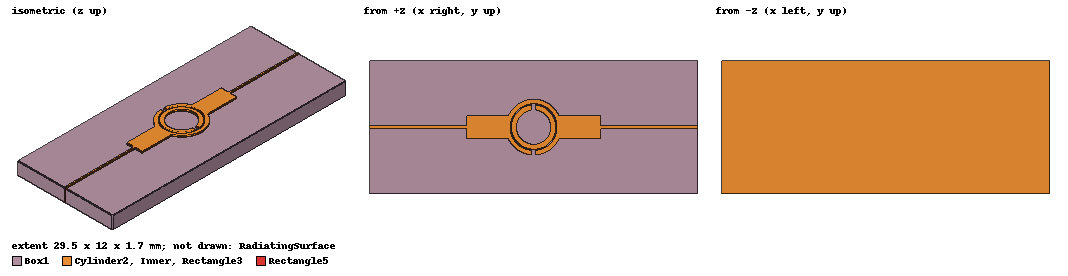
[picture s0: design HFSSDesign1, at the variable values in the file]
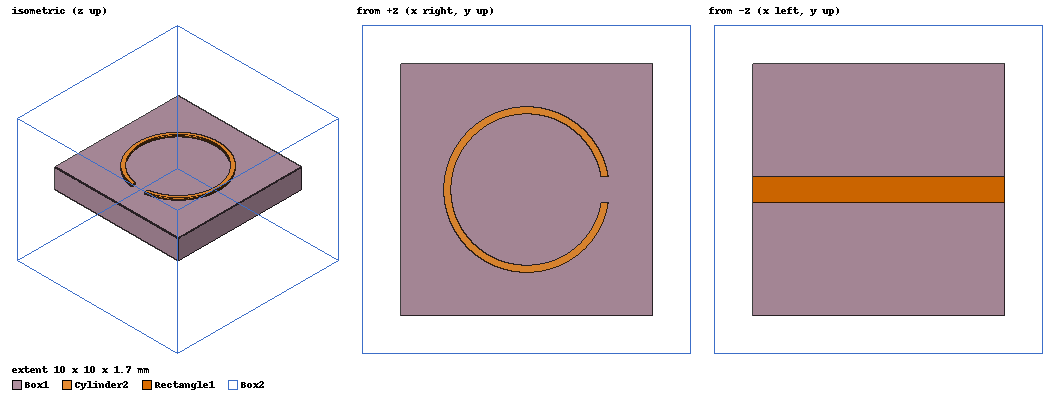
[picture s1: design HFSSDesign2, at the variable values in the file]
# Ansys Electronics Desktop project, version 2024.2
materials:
  vacuum: permittivity=1
  FR4_epoxy: permittivity=4.4 dielectric_loss_tangent=0.02
  copper: permeability=0.999991 conductivity=58000000
  air: permittivity=1.0006 permeability=1.0000004

design HFSSDesign1 (HFSS, HFSS Terminal Network, model units mm)
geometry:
  Box1 [FR4_epoxy] = box(corner=(-8.75mm, 0mm, 0mm), size=(29.5mm, 12mm, 1.6mm))
  Cylinder1 = cylinder(axis=Z, base_centre=(6mm, 6mm, 1.6mm), radius=2.1mm, height=0.1mm)
  Cylinder2 [copper] = cylinder(axis=Z, base_centre=(6mm, 6mm, 1.6mm), radius=2.5mm, height=0.1mm)
  Slit = box(corner=(5.8mm, 1.5mm, 1.6mm), size=(0.4mm, 4mm, 0.1mm))
  Box2 = box(corner=(0mm, 5mm, 1.6mm), size=(12mm, 2mm, 0.1mm))
  Rectangle3 = rectangle(corner=(-8.75mm, 0mm, 0mm), x_size=29.5mm, y_size=12mm)
  Cylinder2.subtract(Cylinder1)
  Box4 = box(corner=(3.9mm, 7mm, 1.6mm), size=(4.2mm, -2mm, 0.2mm))
  Cylinder2.subtract(Slit)
  Box2.subtract(Box4)
  Cylinder2.unite(Box2)
  Inner [copper] = cylinder(axis=Z, base_centre=(6mm, 6mm, 1.6mm), radius=2mm, height=0.1mm)
  Cylinder3 = cylinder(axis=Z, base_centre=(6mm, 6mm, 1.6mm), radius=1.55mm, height=0.1mm)
  Inner.subtract(Cylinder3)
  Box5 = box(corner=(5.8mm, 8mm, 1.6mm), size=(0.4mm, -1.5mm, 0.1mm))
  Inner.subtract(Box5)
  quartwave_1 = box(corner=(0mm, 6.0925mm, 1.6mm), size=(-8.75mm, -0.185mm, 0.1mm))
  quartwave_2 = box(corner=(0mm, 6.0925mm, 1.6mm), size=(-8.75mm, -0.185mm, 0.1mm))
  quartwave_2.move(20.75mm, 0mm, 0mm)
  Rectangle4 = rectangle(corner=(-8.75mm, 6.0925mm, 1.7mm), y_size=-0.185mm, z_size=-1.7mm)
  Rectangle5 = rectangle(corner=(-8.75mm, 6.0925mm, 1.7mm), y_size=-0.185mm, z_size=-1.7mm)
  Rectangle5.move(29.5mm, 0mm, 0mm)
  Cylinder2.unite(quartwave_1, quartwave_2)
  RadiatingSurface [vacuum] = region(absolute_offset=20mm on all sides)
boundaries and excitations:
  PerfE6: Perfect E Objects=Cylinder2
  PerfE7: Perfect E Objects=Inner
  PerfE10: Perfect E Objects=Rectangle3
  Open1: Radiation Objects=RadiatingSurface
  1: Lumped Port Objects=Rectangle4 LumpedPortType=Modal Modes{Mode1{IntLine{(-8.75, 6, 0) -> (-8750mm, 6000mm, 1650mm)} CharImp=Zpi}} Impedance=50ohm
  2: Lumped Port Objects=Rectangle5 LumpedPortType=Modal Modes{Mode1{IntLine{(20.75, 6, 0) -> (20.75, 6, 1.7)} CharImp=Zpi}} Impedance=50ohm
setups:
  Setup1: HfssDriven Frequency=5GHz MaxDeltaS=0.02 MaximumPasses=10 MinimumPasses=1 MinimumConvergedPasses=1 PercentRefinement=30 BasisOrder=1 PortAccuracy=2 DrivenSolverType="Direct Solver"
    sweep Sweep: 1GHz to 10GHz, 401 points; Type=Fast SaveFields
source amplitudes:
  1:1: 1V 0deg
  2:1: 0V 0deg
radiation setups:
  3D: Infinite Sphere Theta=0deg..180deg step 2deg Phi=-180deg..180deg step 2deg
  Elevation: Infinite Sphere Theta=-180deg..180deg step 1deg Phi=0deg..90deg step 90deg
  Azimuth: Infinite Sphere Theta=90deg..90deg step 0deg Phi=-180deg..180deg step 1deg
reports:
  S Parameter Plot 1: dB(S(1,1)), dB(S(2,1)) vs Freq on Setup1 : Sweep; markers m1 at 4.96GHz, m4 at 4.96GHz
  Z Parameter Plot 1: dB20(Z(1,1)), dB20(Z(2,1)) vs Freq on Setup1 : Sweep; markers m1 at 5.005GHz, m2 at 5.005GHz

design HFSSDesign2 (HFSS, HFSS Terminal Network, model units mm)
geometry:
  Box1 [FR4_epoxy] = box(corner=(0mm, 0mm, 0mm), size=(10mm, 10mm, 1.6mm))
  Cylinder2 [copper] = cylinder(axis=Z, base_centre=(5mm, 5mm, 1.6mm), radius=3.281mm, height=0.1mm)
  Slit = box(corner=(7.5mm, 4.5mm, 1.6mm), size=(2mm, 1mm, 0.1mm))
  Cylinder2.subtract(Slit)
  Cylinder1 = cylinder(axis=Z, base_centre=(5mm, 5mm, 1.6mm), radius=3mm, height=0.1mm)
  Rectangle1 = rectangle(corner=(0mm, 4.5mm, 0mm), x_size=10mm, y_size=1mm)
  Cylinder2.subtract(Cylinder1)
  Box2 [vacuum] = box(corner=(-1.5mm, -1.5mm, -5mm), size=(13mm, 13mm, 10mm))
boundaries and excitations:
  PerfE1: Perfect E Objects=Cylinder2
  PerfE8: Perfect E Faces=Box2.face(-y)
  PerfE9: Perfect E Faces=Box2.face(+y)
  PerfH3: Perfect H Faces=Box2.face(+z)
  PerfH4: Perfect H Faces=Box2.face(-z)
  PerfE11: Perfect E Objects=Rectangle1
  5: Wave Port Faces=Box2.face(+x) WavePortType=Modal NumModes=1 Modes{Mode1{IntLine{(11.5, -1.5, 0) -> (11.5, 11.5, -0.5)} CharImp=Zpi}}
  6: Wave Port Faces=Box2.face(-x) WavePortType=Modal NumModes=1 Modes{Mode1{IntLine{(-1.5, -1.5, 0) -> (-1.5, 11.5, 0)} CharImp=Zpi}}
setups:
  Setup1: HfssDriven Frequency=5GHz MaxDeltaS=0.02 MaximumPasses=10 MinimumPasses=1 MinimumConvergedPasses=1 PercentRefinement=30 BasisOrder=1 PortAccuracy=2 DrivenSolverType="Direct Solver"
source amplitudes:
  5:1: 1V 0deg
  6:1: 0V 0deg
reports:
  S Parameter Plot 1: dB(S(5,5)) vs Freq on Setup1 : LastAdaptive
